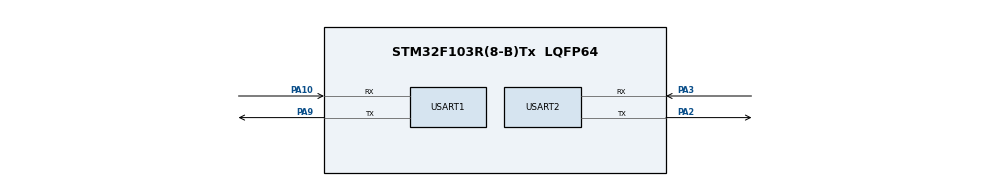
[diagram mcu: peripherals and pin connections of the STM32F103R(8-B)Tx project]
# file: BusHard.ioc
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FREERTOS.Queues01=UartQueue,16,uint16_t,0,Dynamic,NULL,NULL
FREERTOS.Tasks01=defaultTask,0,128,StartDefaultTask,Default,NULL,Dynamic,NULL,NULL;UartTask,-3,128,StartTask02,Default,NULL,Dynamic,NULL,NULL
FREERTOS.configTOTAL_HEAP_SIZE=5120
Mcu.Family=STM32F1
Mcu.Name=STM32F103R(8-B)Tx
Mcu.Package=LQFP64
NVIC.PriorityGroup=NVIC_PRIORITYGROUP_4
NVIC.USART1_IRQn=true\:5\:0\:false\:false\:true\:true\:true\:true
PA10.Mode=Asynchronous
PA10.Signal=USART1_RX
PA13.Mode=Serial_Wire
PA13.Signal=SYS_JTMS-SWDIO
PA14.Mode=Serial_Wire
PA14.Signal=SYS_JTCK-SWCLK
PA2.Mode=Asynchronous
PA2.Signal=USART2_TX
PA3.Mode=Asynchronous
PA3.Signal=USART2_RX
PA9.Mode=Asynchronous
PA9.Signal=USART1_TX
ProjectManager.HeapSize=0x800
ProjectManager.StackSize=0x400
ProjectManager.TargetToolchain=MDK-ARM V5.27
RCC.APB1Freq_Value=8000000
RCC.APB2Freq_Value=8000000
USART1.VirtualMode=VM_ASYNC
USART2.VirtualMode=VM_ASYNC
VP_FREERTOS_VS_CMSIS_V1.Mode=CMSIS_V1
board=custom

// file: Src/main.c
/* USER CODE BEGIN Header */
/**
  ******************************************************************************
  * @file           : main.c
  * @brief          : Main program body
  ******************************************************************************
  * @attention
  *
  * <h2><center>&copy; Copyright (c) 2020 STMicroelectronics.
  * All rights reserved.</center></h2>
  *
  * This software component is licensed by ST under BSD 3-Clause license,
  * the "License"; You may not use this file except in compliance with the
  * License. You may obtain a copy of the License at:
  *                        opensource.org/licenses/BSD-3-Clause
  *
  ******************************************************************************
  */
/* USER CODE END Header */

#include "main.h"
#include "cmsis_os.h"

#include <stdio.h>
#include <string.h>

UART_HandleTypeDef huart1;
UART_HandleTypeDef huart2;

osThreadId defaultTaskHandle;
osThreadId rxTaskHandle;

void SystemClock_Config(void);
static void MX_GPIO_Init(void);
static void MX_USART1_UART_Init(void);
static void MX_USART2_UART_Init(void);
void StartDefaultTask(void const * argument);
void StartRxTask(void const * argument);

int fputc(int ch, FILE *f) {
    ITM_SendChar(ch);
    return (ch);
};

int main(void)
{

    /* MCU Configuration--------------------------------------------------------*/

    /* Reset of all peripherals, Initializes the Flash interface and the Systick. */
    HAL_Init();

    /* Configure the system clock */
    SystemClock_Config();

    /* Initialize all configured peripherals */
    MX_GPIO_Init();
    MX_USART1_UART_Init();
    MX_USART2_UART_Init();

    /* Create the thread(s) */
    /* definition and creation of defaultTask */
    osThreadDef(defaultTask, StartDefaultTask, osPriorityHigh, 0, 512);
    defaultTaskHandle = osThreadCreate(osThread(defaultTask), NULL);

//  osThreadDef(rxTask, StartRxTask, osPriorityNormal, 0, 384);
//  rxTaskHandle = osThreadCreate(osThread(rxTask), NULL);

    /* Start scheduler */
    osKernelStart();

    /* We should never get here as control is now taken by the scheduler */

    /* Infinite loop */
    while (1)
    {

    }
}

void SystemClock_Config(void)
{
    RCC_OscInitTypeDef RCC_OscInitStruct = {0};
    RCC_ClkInitTypeDef RCC_ClkInitStruct = {0};

    /** Initializes the CPU, AHB and APB busses clocks
    */
    RCC_OscInitStruct.OscillatorType = RCC_OSCILLATORTYPE_HSI;
    RCC_OscInitStruct.HSIState = RCC_HSI_ON;
    RCC_OscInitStruct.HSICalibrationValue = RCC_HSICALIBRATION_DEFAULT;
    RCC_OscInitStruct.PLL.PLLState = RCC_PLL_NONE;
    if (HAL_RCC_OscConfig(&RCC_OscInitStruct) != HAL_OK)
    {
        Error_Handler();
    }
    /** Initializes the CPU, AHB and APB busses clocks
    */
    RCC_ClkInitStruct.ClockType = RCC_CLOCKTYPE_HCLK|RCC_CLOCKTYPE_SYSCLK
                                  |RCC_CLOCKTYPE_PCLK1|RCC_CLOCKTYPE_PCLK2;
    RCC_ClkInitStruct.SYSCLKSource = RCC_SYSCLKSOURCE_HSI;
    RCC_ClkInitStruct.AHBCLKDivider = RCC_SYSCLK_DIV1;
    RCC_ClkInitStruct.APB1CLKDivider = RCC_HCLK_DIV1;
    RCC_ClkInitStruct.APB2CLKDivider = RCC_HCLK_DIV1;

    if (HAL_RCC_ClockConfig(&RCC_ClkInitStruct, FLASH_LATENCY_0) != HAL_OK)
    {
        Error_Handler();
    }
}

static void MX_USART1_UART_Init(void)
{

    huart1.Instance = USART1;
    huart1.Init.BaudRate = 115200;
    huart1.Init.WordLength = UART_WORDLENGTH_8B;
    huart1.Init.StopBits = UART_STOPBITS_1;
    huart1.Init.Parity = UART_PARITY_NONE;
    huart1.Init.Mode = UART_MODE_TX_RX;
    huart1.Init.HwFlowCtl = UART_HWCONTROL_NONE;
    huart1.Init.OverSampling = UART_OVERSAMPLING_16;
    char c;
    HAL_UART_Receive_IT(&huart1, (uint8_t *)&(c), 1);

    if (HAL_UART_Init(&huart1) != HAL_OK)
    {
        Error_Handler();
    }

}

static void MX_USART2_UART_Init(void)
{

    huart2.Instance = USART2;
    huart2.Init.BaudRate = 115200;
    huart2.Init.WordLength = UART_WORDLENGTH_8B;
    huart2.Init.StopBits = UART_STOPBITS_1;
    huart2.Init.Parity = UART_PARITY_NONE;
    huart2.Init.Mode = UART_MODE_TX_RX;
    huart2.Init.HwFlowCtl = UART_HWCONTROL_NONE;
    huart2.Init.OverSampling = UART_OVERSAMPLING_16;
    if (HAL_UART_Init(&huart2) != HAL_OK)
    {
        Error_Handler();
    }

}

static void MX_GPIO_Init(void)
{

    /* GPIO Ports Clock Enable */
    __HAL_RCC_GPIOA_CLK_ENABLE();

}

int g_tx_error = 0;
HAL_StatusTypeDef K_UART_Transmit(UART_HandleTypeDef *huart, uint8_t *pData, uint16_t Size)
{
    HAL_StatusTypeDef status = HAL_OK;
    for(int32_t i = 1; i < 100000; ++i)
    {
        status = HAL_UART_Transmit_IT(huart, pData, Size);
        if(HAL_OK == status)
        {   // ??
            return status;
        }
        else if(HAL_BUSY == status)
        {
            //printf("HAL_UART_Transmit failed. status:%d, gState:0X%x, Lock:%d\r\n", status, huart->gState, huart->Lock);
            if(HAL_UART_STATE_READY == huart->gState && HAL_LOCKED == huart->Lock && i % 50 == 0)
            {   g_tx_error++;
                __HAL_UNLOCK(huart);
                continue;
            }
        }
        else if(HAL_ERROR == status)
        {   // ??????
            return status;
        }
        else if(HAL_TIMEOUT == status)
        {   // ?????????
            continue;
        }
    }
    // ???N?
    return status;
}

void user_send_data_with_delay(char *buffer) {
	K_UART_Transmit(&huart1, (uint8_t *)buffer, strlen(buffer));
  osDelay(200);
}

#define RING_BUFFER_SIZE            (1000)
typedef struct
{
    uint8_t  data[RING_BUFFER_SIZE];
    uint16_t tail;
    uint16_t head;
} uart_ring_buffer_t;

static uart_ring_buffer_t   g_uart_rx_buf = {0};

#define AT_SUCCESS 0
#define AT_FAILED  -1

/**
 * Receive data on a UART interface
 *
 * @param[in]   uart         the UART interface
 * @param[out]  data         pointer to the buffer which will store incoming data
 * @param[in]   expect_size  number of bytes to receive
 * @param[out]  recv_size    number of bytes received
 * @param[in]   timeout      timeout in milisecond, set this value to HAL_WAIT_FOREVER
 *                           if you want to wait forever
 *
 * @return  0 : on success, EIO : if an error occurred with any step
 */
int32_t _uart_recv(void  *uart, void *data, uint32_t expect_size,
                   uint32_t *recv_size, uint32_t timeout)
{
    uint32_t tmp, read_size;
    uint8_t *buf = (uint8_t *)data;
    uint32_t start_time, expired_time;

    start_time = HAL_GetTick();
    *recv_size = 0;

    expect_size =  expect_size > RING_BUFFER_SIZE ? RING_BUFFER_SIZE : expect_size;

    for (;;) {
        read_size = expect_size;

        tmp = 0;
        /* Loop until data received */
        while (read_size--)
        {
            if (g_uart_rx_buf.head != g_uart_rx_buf.tail)
            {
                /* serial data available, so return data to user */
                *buf++ = g_uart_rx_buf.data[g_uart_rx_buf.head++];
                tmp++;

                /* check for ring buffer wrap */
                if (g_uart_rx_buf.head >= RING_BUFFER_SIZE)
                {
                    /* Ring buffer wrap, so reset head pointer to start of buffer */
                    g_uart_rx_buf.head = 0;
                }
            }
        }

        *recv_size += tmp;
        expect_size -= tmp;

        if(expect_size == 0)
        {
            break;
        }

        expired_time = HAL_GetTick() - start_time;
        if (expired_time > timeout)
        {
            return -1;
        }
    }

    return 0;
}

int user_get_data_with_delay(char *buffer, unsigned int length, unsigned int delay) {
    uint32_t recv_size= 0;
    _uart_recv(NULL, buffer, length,&recv_size, del\
	ay);

    char * found = NULL;
    if(strlen(buffer) == 0) {
        return -9;
    }

    found = strstr(buffer, "OK\r\n");
    if(NULL != found) {
        return AT_SUCCESS;
    }
    return AT_FAILED;
}

int n720_normal_check(char *in_cmd) {
    user_send_data_with_delay(in_cmd);
#define BUF_LEN 50
    char buffer[BUF_LEN] = {0};
    int ret = user_get_data_with_delay(buffer, BUF_LEN, 100);
		printf("sent AT cmd %s ret is %d\n", in_cmd, ret);
    return ret;
}

int n720_check_sim_card() {
    user_send_data_with_delay("AT+CPIN?\r\n");
#define BUF_LEN 50
    char buffer[BUF_LEN] = {0};
    int ret = user_get_data_with_delay(buffer, BUF_LEN,100);
    if(strstr(buffer, "CPIN: READY") != NULL) {
        return AT_SUCCESS;
    }
    return AT_FAILED;
}

int n720_check_cgatt() {
    user_send_data_with_delay("AT+CGATT?\r\n");
#define BUF_LEN 50
    char buffer[BUF_LEN] = {0};
    int ret = user_get_data_with_delay(buffer, BUF_LEN,100);
    if(strstr(buffer, "CGATT: 1") != NULL) {
        return AT_SUCCESS;
    }
    return AT_FAILED;
}

int n720_check_creg() {
    user_send_data_with_delay("AT+CREG?\r\n");
#define BUF_LEN 50
    char buffer[BUF_LEN] = {0};
    int ret = user_get_data_with_delay(buffer, BUF_LEN,100);
    if(strstr(buffer, "CREG: 2") != NULL) {
        return AT_SUCCESS;
    }
    return AT_FAILED;
}

int n720_check_mqttonline() {
    char * inbuffer = "AT+MQTTSTATE?\r\n";
    //HAL_UART_Transmit(&huart1, inbuffer, strlen(inbuffer),100 );
    user_send_data_with_delay(inbuffer);

#define BUF_LEN_1 512
    char buffer[BUF_LEN_1] = {0};
    int ret = user_get_data_with_delay(buffer, BUF_LEN_1, 200);

    if(strstr(buffer, "MQTTSTATE: 0") != NULL) {

        return AT_FAILED;
    }
    return AT_SUCCESS;
}

int n720_check_xiic() {
    user_send_data_with_delay("AT+XIIC?\r\n");
#define BUF_LEN_2 30
    char buffer[BUF_LEN_2] = {0};
    int ret = user_get_data_with_delay(buffer, BUF_LEN_2,100);
    if(strstr(buffer, "+XIIC:    1") != NULL) {
        return AT_SUCCESS;
    }
    return AT_FAILED;
}

int g_rx_error=0;
int g_rx_other_error=0;

HAL_StatusTypeDef K_UART_Receive_IT(UART_HandleTypeDef *huart, uint8_t *pData, uint16_t Size)
{
    HAL_StatusTypeDef status = HAL_OK;
    for(int32_t i = 1; i < 1000; ++i)
    {
#if 1
        uint32_t isrflags   = READ_REG(huart->Instance->SR);
        if((__HAL_UART_GET_FLAG(huart, UART_FLAG_PE))!=RESET)
        {
            __HAL_UART_CLEAR_PEFLAG(huart);
        }
        if((__HAL_UART_GET_FLAG(huart, UART_FLAG_FE))!=RESET)
        {
            __HAL_UART_CLEAR_FEFLAG(huart);
        }
        if((__HAL_UART_GET_FLAG(huart, UART_FLAG_NE))!=RESET)
        {
            __HAL_UART_CLEAR_NEFLAG(huart);
        }
        if((__HAL_UART_GET_FLAG(huart, UART_FLAG_ORE))!=RESET)
        {
            //READ_REG(huart->Instance->CR1);//ORE???,????CR
            //__HAL_UART_CLEAR_FLAG(huart, UART_FLAG_ORE);
            __HAL_UART_CLEAR_OREFLAG(huart);
        }
        if(HAL_UART_ERROR_NONE != huart->ErrorCode)
        {
            huart->ErrorCode = HAL_UART_ERROR_NONE;

        }
#endif
        status = HAL_UART_Receive_IT(huart, pData, Size);
        if(HAL_OK == status)
        {
            return status;
        }
        else if(HAL_BUSY == status)
        {
            //printf("HAL_UART_Receive_IT failed. status:%d, RxState:0X%x, Lock:%d\r\n", status, huart->RxState, huart->Lock);
            if(HAL_UART_STATE_READY == huart->RxState && HAL_LOCKED == huart->Lock && i % 500 == 0)
            {
                __HAL_UNLOCK(huart);
							  g_rx_error++;
                continue;
            }
        }
        else if(HAL_ERROR == status)
        {
					  g_rx_other_error++;
            return status;
        }
        else if(HAL_TIMEOUT == status)
        {
        }
    }
    if(HAL_OK != status)
    {
    }
    return status;
}

void HAL_UART_RxCpltCallback(UART_HandleTypeDef *huart) {
    if (++g_uart_rx_buf.tail >= RING_BUFFER_SIZE) {
        g_uart_rx_buf.tail = 0;
    }

		K_UART_Receive_IT(&huart1, (uint8_t *)&g_uart_rx_buf.data[g_uart_rx_buf.tail], 1);
}

void StartDefaultTask(void const * argument)
{
    /* USER CODE BEGIN 5 */
    /* Infinite loop */
    uint8_t temp;

    HAL_UART_Receive_IT(&huart1, &temp, 1);

    int iter = 0;
    int ret = AT_FAILED;
    while(iter++ <10) {
        ret = n720_normal_check("AT\r\n");
        if(ret == AT_SUCCESS) {
            break;
        }
        osDelay(1);
    }
    if(ret == AT_FAILED) {
        return ;
    }
    osDelay(5);

    iter = 0;
    while(iter++ <10) {
        ret = n720_normal_check("ATE0\r\n");
        if(ret == AT_SUCCESS) {
            break;
        }
        osDelay(1);
    }
    if(ret == AT_FAILED) {
        return ;
    }
    osDelay(5);

    iter = 0;
    while(iter++ <10) {
        ret = n720_normal_check("AT+CGSN\r\n");
        if(ret == AT_SUCCESS) {
            break;
        }
        osDelay(1);
    }
    if(ret == AT_FAILED) {
        return ;
    }
    osDelay(5);
    iter = 0;
    while(iter++ <10) {
        //AT+CPIN?
        ret = n720_check_sim_card();
        if(ret == AT_SUCCESS) {
            break;
        }
        osDelay(1);
    }
		printf("sim card check ret is %d\n", ret);
    if(ret == AT_FAILED) {
        return ;
    }

    osDelay(5);
    iter = 0;
    while(iter++ <10) {
        ret = n720_normal_check("AT+CIMI\r\n");
        if(ret == AT_SUCCESS) {
            break;
        }
        osDelay(1);
    }
    if(ret == AT_FAILED) {
        return ;
    }

    osDelay(5);
    iter = 0;
    while(iter++ <10) {
        ret = n720_normal_check("AT+CREG=2\r\n");
        if(ret == AT_SUCCESS) {
            break;
        }
        osDelay(1);
    }
    if(ret == AT_FAILED) {
        return ;
    }
    osDelay(5);
    iter = 0;
    while(iter++ <10) {
        ret = n720_check_creg();
        if(ret == AT_SUCCESS) {
            break;
        }
        osDelay(1);
    }
		printf("creg check ret is %d\n", ret);
    if(ret == AT_FAILED) {
        return ;
    }

    osDelay(5);
    iter = 0;
    while(iter++ <10) {
        ret = n720_normal_check("AT+CREG=0\r\n");
        if(ret == AT_SUCCESS) {
            break;
        }
        osDelay(1);
    }
    if(ret == AT_FAILED) {
        return ;
    }
    osDelay(5);
    iter = 0;
    while(iter++ <10) {
        ret = n720_normal_check("AT+CGATT=1\r\n");
        if(ret == AT_SUCCESS) {
            break;
        }
        osDelay(1);
    }
    if(ret == AT_FAILED) {
        return ;
    }

    osDelay(5);
    iter = 0;
    while(iter++ <10) {
        ret = n720_check_cgatt();
        if(ret == AT_SUCCESS) {
            break;
        }
        osDelay(1);
    }
		printf("cgatt check ret is %d\n", ret);
    if(ret == AT_FAILED) {
        return;
    }
    osDelay(5);
    iter = 0;
    while(iter++ <10) {
        ret = n720_normal_check("AT+CGDCONT=1,\"IP\", \"CMNET\"\r\n");
        if(ret == AT_SUCCESS) {
            break;
        }
        osDelay(1);
    }
    if(ret == AT_FAILED) {
        return ;
    }
    osDelay(5);

    iter = 0;
		printf("try to get IP\n");
    while(iter++ <10) {
        ret = n720_normal_check("AT+XIIC=1\r\n");
        if(ret == AT_SUCCESS) {
            break;
        }
        osDelay(1);
    }
    if(ret == AT_FAILED) {
        return ;
    }
    osDelay(5);
    iter = 0;
    while(iter++ <100) {
        ret = n720_check_xiic();
        if(ret == AT_SUCCESS) {
						printf("succeed to get IP\n");
            break;
        }
        osDelay(1);
    }

    if(ret == AT_FAILED) {
			  printf("failed to get IP, exit");
        return ;
    }
		printf("ready to run demo\n");

		osDelay(5);
    iter = 0;
    while(iter++ <10) {
        ret = n720_normal_check("AT$MYGPSPWR=1\r\n");
        if(ret == AT_SUCCESS) {
            break;
        }
        osDelay(1);
    }
    if(ret == AT_FAILED) {
        return ;
    }

				osDelay(5);
    iter = 0;
    while(iter++ <10) {
        ret = n720_normal_check("AT$MYGNSSSEL=0\r\n");
        if(ret == AT_SUCCESS) {
            break;
        }
        osDelay(1);
    }
    if(ret == AT_FAILED) {
        return ;
    }

						osDelay(5);
    iter = 0;
    while(iter++ <10) {
        ret = n720_normal_check("AT$MYGNSSMSG\r\n");
        if(ret == AT_SUCCESS) {
            break;
        }
        osDelay(1);
    }
    if(ret == AT_FAILED) {
        return ;
    }
		while(1)
		{

		}

    for(;;)
    {
        osDelay(10);
    }
    /* USER CODE END 5 */
}

void Error_Handler(void)
{
}

/************************ (C) COPYRIGHT STMicroelectronics *****END OF FILE****/

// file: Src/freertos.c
/* USER CODE BEGIN Header */
/**
  ******************************************************************************
  * File Name          : freertos.c
  * Description        : Code for freertos applications
  ******************************************************************************
  * @attention
  *
  * <h2><center>&copy; Copyright (c) 2020 STMicroelectronics.
  * All rights reserved.</center></h2>
  *
  * This software component is licensed by ST under Ultimate Liberty license
  * SLA0044, the "License"; You may not use this file except in compliance with
  * the License. You may obtain a copy of the License at:
  *                             www.st.com/SLA0044
  *
  ******************************************************************************
  */
/* USER CODE END Header */

#include "FreeRTOS.h"
#include "task.h"
#include "main.h"

/* GetIdleTaskMemory prototype (linked to static allocation support) */
void vApplicationGetIdleTaskMemory( StaticTask_t **ppxIdleTaskTCBBuffer, StackType_t **ppxIdleTaskStackBuffer, uint32_t *pulIdleTaskStackSize );

/* USER CODE BEGIN GET_IDLE_TASK_MEMORY */
static StaticTask_t xIdleTaskTCBBuffer;
static StackType_t xIdleStack[configMINIMAL_STACK_SIZE];

void vApplicationGetIdleTaskMemory( StaticTask_t **ppxIdleTaskTCBBuffer, StackType_t **ppxIdleTaskStackBuffer, uint32_t *pulIdleTaskStackSize )
{
    *ppxIdleTaskTCBBuffer = &xIdleTaskTCBBuffer;
    *ppxIdleTaskStackBuffer = &xIdleStack[0];
    *pulIdleTaskStackSize = configMINIMAL_STACK_SIZE;
    /* place for user code */
}
/* USER CODE END GET_IDLE_TASK_MEMORY */

/************************ (C) COPYRIGHT STMicroelectronics *****END OF FILE****/
